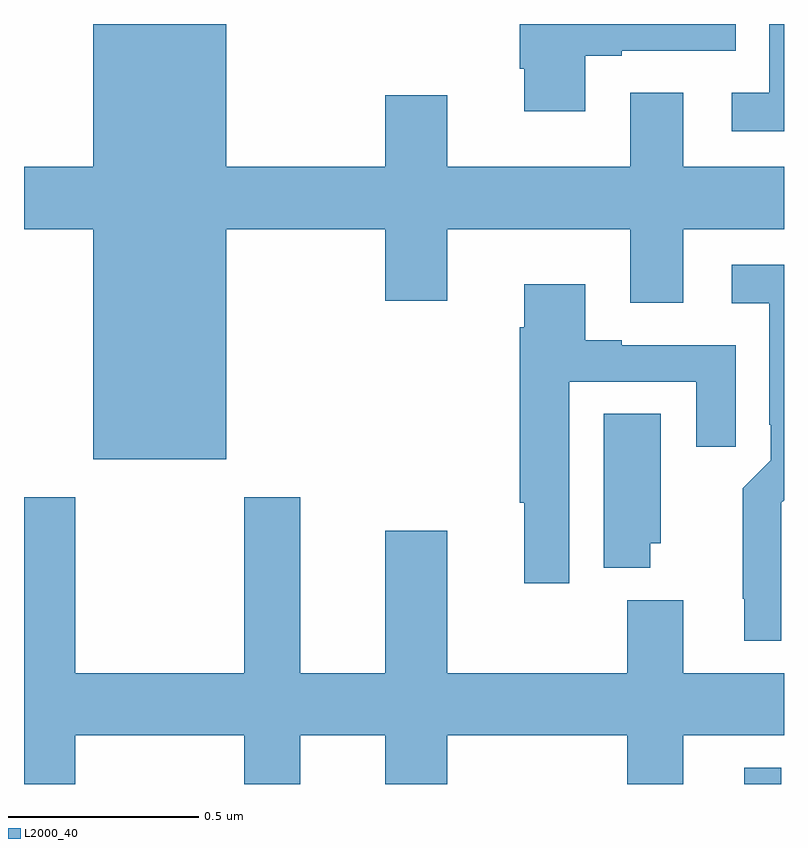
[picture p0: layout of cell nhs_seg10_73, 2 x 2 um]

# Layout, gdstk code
import gdstk
lib = gdstk.Library(unit=1e-6, precision=1e-09)
def R(c, l, rs):  # rectangles x0, y0, x1, y1
    for r in rs: c.add(gdstk.rectangle(r[:2], r[2:], *l))
def P(c, l, *ps):  # polygons
    for p in ps: c.add(gdstk.Polygon(p, *l))
L2000_40 = (2000, 40)

nhs_seg10_73 = lib.new_cell('nhs_seg10_73')
R(nhs_seg10_73, L2000_40, [(112.896,1321.5,112.993,1321.543)])
P(nhs_seg10_73, L2000_40, [(111.532,1322.96),(111.95,1322.96),(111.95,1322.772),(112.114,1322.772),(112.114,1322.96),(112.595,1322.96),(112.595,1322.766),(112.735,1322.766),(112.735,1322.96),(113,1322.96),(113,1323.124),(112.735,1323.124),(112.735,1323.319),(112.595,1323.319),(112.595,1323.124),(112.114,1323.124),(112.114,1323.313),(111.95,1323.313),(111.95,1323.124),(111.532,1323.124),(111.532,1323.5),(111.182,1323.5),(111.182,1323.124),(111,1323.124),(111,1322.96),(111.182,1322.96),(111.182,1322.354),(111.532,1322.354)],
  [(112.477,1323.417),(112.573,1323.417),(112.573,1323.429),(112.873,1323.429),(112.873,1323.5),(112.304,1323.5),(112.304,1323.382),(112.316,1323.382),(112.316,1323.27),(112.477,1323.27)],
  [(113,1323.5),(112.961,1323.5),(112.961,1323.319),(112.863,1323.319),(112.863,1323.218),(113,1323.218)],
  [(112.993,1322.24),(113,1322.247),(113,1322.866),(112.863,1322.866),(112.863,1322.765),(112.961,1322.765),(112.961,1322.446),(112.965,1322.446),(112.965,1322.352),(112.891,1322.278),(112.891,1321.987),(112.895,1321.987),(112.895,1321.877),(112.993,1321.877)],
  [(112.435,1322.559),(112.769,1322.559),(112.769,1322.388),(112.873,1322.388),(112.873,1322.655),(112.573,1322.655),(112.573,1322.668),(112.477,1322.668),(112.477,1322.815),(112.316,1322.815),(112.316,1322.702),(112.304,1322.702),(112.304,1322.24),(112.316,1322.24),(112.316,1322.028),(112.435,1322.028)],
  [(112.648,1322.133),(112.675,1322.133),(112.675,1322.474),(112.526,1322.474),(112.526,1322.069),(112.648,1322.069)],
  [(111.135,1321.628),(111.58,1321.628),(111.58,1321.5),(111.727,1321.5),(111.727,1321.628),(111.95,1321.628),(111.95,1321.5),(112.114,1321.5),(112.114,1321.628),(112.588,1321.628),(112.588,1321.5),(112.735,1321.5),(112.735,1321.628),(113,1321.628),(113,1321.792),(112.735,1321.792),(112.735,1321.984),(112.588,1321.984),(112.588,1321.792),(112.114,1321.792),(112.114,1322.167),(111.95,1322.167),(111.95,1321.792),(111.727,1321.792),(111.727,1322.254),(111.58,1322.254),(111.58,1321.792),(111.135,1321.792),(111.135,1322.254),(111,1322.254),(111,1321.5),(111.135,1321.5)])

lib.write_gds('nhs_seg10_73.gds')
